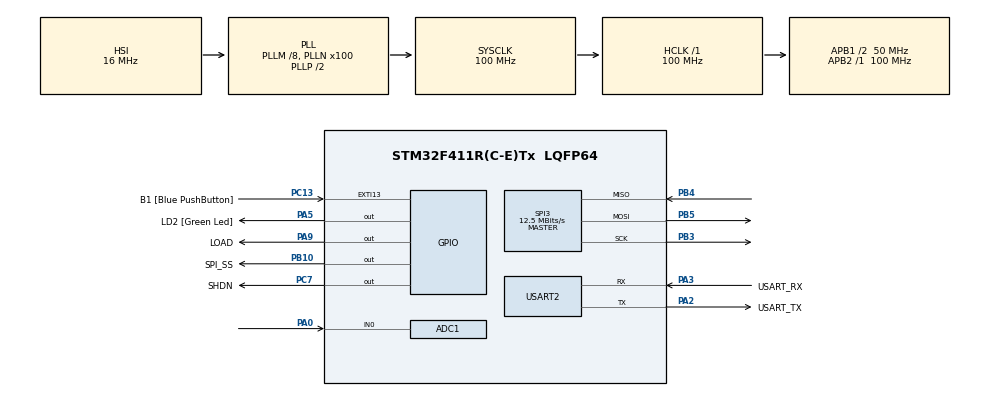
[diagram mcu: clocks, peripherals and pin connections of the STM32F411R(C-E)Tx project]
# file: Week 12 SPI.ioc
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ADC1.Channel-0\#ChannelRegularConversion=ADC_CHANNEL_0
ADC1.ExternalTrigConv=ADC_EXTERNALTRIGCONV_T3_TRGO
ADC1.NbrOfConversionFlag=1
ADC1.Rank-0\#ChannelRegularConversion=1
ADC1.SamplingTime-0\#ChannelRegularConversion=ADC_SAMPLETIME_3CYCLES
ADC1.ScanConvMode=ENABLE
ADC1.master=1
Dma.ADC1.0.Direction=DMA_PERIPH_TO_MEMORY
Dma.ADC1.0.FIFOMode=DMA_FIFOMODE_DISABLE
Dma.ADC1.0.Instance=DMA2_Stream0
Dma.ADC1.0.MemDataAlignment=DMA_MDATAALIGN_HALFWORD
Dma.ADC1.0.MemInc=DMA_MINC_ENABLE
Dma.ADC1.0.Mode=DMA_CIRCULAR
Dma.ADC1.0.PeriphDataAlignment=DMA_PDATAALIGN_HALFWORD
Dma.ADC1.0.PeriphInc=DMA_PINC_DISABLE
Dma.ADC1.0.Priority=DMA_PRIORITY_LOW
Dma.Request0=ADC1
Mcu.Family=STM32F4
Mcu.Name=STM32F411R(C-E)Tx
Mcu.Package=LQFP64
NVIC.ADC_IRQn=true\:0\:0\:false\:false\:true\:true\:true
NVIC.DMA2_Stream0_IRQn=true\:0\:0\:false\:false\:true\:false\:true
NVIC.PriorityGroup=NVIC_PRIORITYGROUP_0
NVIC.SPI3_IRQn=true\:0\:0\:false\:false\:true\:true\:true
NVIC.TIM1_TRG_COM_TIM11_IRQn=true\:0\:0\:false\:false\:true\:true\:true
PA0-WKUP.Signal=ADCx_IN0
PA13.GPIO_Label=TMS
PA13.Mode=Serial_Wire
PA13.Signal=SYS_JTMS-SWDIO
PA14.GPIO_Label=TCK
PA14.Mode=Serial_Wire
PA14.Signal=SYS_JTCK-SWCLK
PA2.GPIO_Label=USART_TX
PA2.Mode=Asynchronous
PA2.Signal=USART2_TX
PA3.GPIO_Label=USART_RX
PA3.Mode=Asynchronous
PA3.Signal=USART2_RX
PA5.GPIO_Label=LD2 [Green Led]
PA5.Signal=GPIO_Output
PA9.GPIO_Label=LOAD
PA9.PinState=GPIO_PIN_SET
PA9.Signal=GPIO_Output
PB10.GPIO_Label=SPI_SS
PB10.PinState=GPIO_PIN_SET
PB10.Signal=GPIO_Output
PB3.Mode=Full_Duplex_Master
PB3.Signal=SPI3_SCK
PB4.Mode=Full_Duplex_Master
PB4.Signal=SPI3_MISO
PB5.Mode=Full_Duplex_Master
PB5.Signal=SPI3_MOSI
PC13-ANTI_TAMP.GPIO_Label=B1 [Blue PushButton]
PC13-ANTI_TAMP.GPIO_ModeDefaultEXTI=GPIO_MODE_IT_FALLING
PC13-ANTI_TAMP.Signal=GPXTI13
PC14-OSC32_IN.Mode=LSE-External-Oscillator
PC14-OSC32_IN.Signal=RCC_OSC32_IN
PC15-OSC32_OUT.Mode=LSE-External-Oscillator
PC15-OSC32_OUT.Signal=RCC_OSC32_OUT
PC7.GPIO_Label=SHDN
PC7.PinState=GPIO_PIN_SET
PC7.Signal=GPIO_Output
PH0\ -\ OSC_IN.Mode=HSE-External-Clock-Source
PH0\ -\ OSC_IN.Signal=RCC_OSC_IN
PH1\ -\ OSC_OUT.Mode=HSE-External-Clock-Source
PH1\ -\ OSC_OUT.Signal=RCC_OSC_OUT
ProjectManager.HeapSize=0x200
ProjectManager.StackSize=0x400
ProjectManager.TargetToolchain=STM32CubeIDE
RCC.48MHZClocksFreq_Value=50000000
RCC.AHBFreq_Value=100000000
RCC.APB1CLKDivider=RCC_HCLK_DIV2
RCC.APB1Freq_Value=50000000
RCC.APB1TimFreq_Value=100000000
RCC.APB2Freq_Value=100000000
RCC.APB2TimFreq_Value=100000000
RCC.CortexFreq_Value=100000000
RCC.FLatency-AdvancedSettings=FLASH_LATENCY_3
RCC.HCLKFreq_Value=100000000
RCC.HSE_VALUE=8000000
RCC.HSI_VALUE=16000000
RCC.PLLM=8
RCC.PLLN=100
RCC.SYSCLKFreq_VALUE=100000000
RCC.SYSCLKSource=RCC_SYSCLKSOURCE_PLLCLK
RCC.VCOOutputFreq_Value=200000000
SH.ADCx_IN0.0=ADC1_IN0,IN0
SPI3.BaudRatePrescaler=SPI_BAUDRATEPRESCALER_4
SPI3.CalculateBaudRate=12.5 MBits/s
SPI3.DataSize=SPI_DATASIZE_16BIT
SPI3.Direction=SPI_DIRECTION_2LINES
SPI3.Mode=SPI_MODE_MASTER
SPI3.VirtualType=VM_MASTER
TIM11.Prescaler=99
TIM3.Period=100
TIM3.Prescaler=99
TIM3.TIM_MasterOutputTrigger=TIM_TRGO_UPDATE
USART2.VirtualMode=VM_ASYNC
VP_TIM11_VS_ClockSourceINT.Mode=Enable_Timer
VP_TIM3_VS_ClockSourceINT.Mode=Internal
board=NUCLEO-F411RE

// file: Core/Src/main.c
/* USER CODE BEGIN Header */
/**
 ******************************************************************************
 * @file           : main.c
 * @brief          : Main program body
 ******************************************************************************
 * @attention
 *
 * <h2><center>&copy; Copyright (c) 2021 STMicroelectronics.
 * All rights reserved.</center></h2>
 *
 * This software component is licensed by ST under BSD 3-Clause license,
 * the "License"; You may not use this file except in compliance with the
 * License. You may obtain a copy of the License at:
 *                        opensource.org/licenses/BSD-3-Clause
 *
 ******************************************************************************
 */
/* USER CODE END Header */
#include "main.h"

ADC_HandleTypeDef hadc1;
DMA_HandleTypeDef hdma_adc1;

SPI_HandleTypeDef hspi3;

TIM_HandleTypeDef htim3;
TIM_HandleTypeDef htim11;

UART_HandleTypeDef huart2;

/* USER CODE BEGIN PV */
uint16_t ADCin = 0;
uint64_t _micro = 0;

//12bits of DAC (data)
uint16_t dataOut = 0;

//upper 4 bit of DAC
uint8_t DACConfig = 0b0011;
// 0 >> write A 				1 >> write B
// 0 >> Vref unbuffered			1 >> Vref buffered
// 0 >> Vout = 2*Vref*D/4096	1 >> Vout = 1*Vref*D/4096
// 0 >> No shutdown				1 >> Shutdown
/* USER CODE END PV */

void SystemClock_Config(void);
static void MX_GPIO_Init(void);
static void MX_DMA_Init(void);
static void MX_USART2_UART_Init(void);
static void MX_ADC1_Init(void);
static void MX_SPI3_Init(void);
static void MX_TIM3_Init(void);
static void MX_TIM11_Init(void);
/* USER CODE BEGIN PFP */

void MCP4922SetOutput(uint8_t Config, uint16_t DACOutput);
uint64_t micros();

/* USER CODE END PFP */

int main(void)
{

  /* MCU Configuration--------------------------------------------------------*/

  /* Reset of all peripherals, Initializes the Flash interface and the Systick. */
  HAL_Init();

  /* Configure the system clock */
  SystemClock_Config();

  /* Initialize all configured peripherals */
  MX_GPIO_Init();
  MX_DMA_Init();
  MX_USART2_UART_Init();
  MX_ADC1_Init();
  MX_SPI3_Init();
  MX_TIM3_Init();
  MX_TIM11_Init();
  /* USER CODE BEGIN 2 */
	HAL_TIM_Base_Start(&htim3);
	HAL_TIM_Base_Start_IT(&htim11);
	HAL_ADC_Start_DMA(&hadc1, (uint32_t*) &ADCin, 1);

	HAL_GPIO_WritePin(LOAD_GPIO_Port, LOAD_Pin, GPIO_PIN_RESET);
  /* USER CODE END 2 */

  /* Infinite loop */
  /* USER CODE BEGIN WHILE */
	while (1)
	{
		static uint64_t timestamp = 0;
		if (micros() - timestamp > 100)	//100 microsec >> 10 kHz
		{
			timestamp = micros();
			//sawtooth >> increase dataout until 4096 then % >> sawtooth graph
			dataOut++;
			dataOut %= 4096;	// data 12 bits >> 2^12 = 4096
			if (hspi3.State == HAL_SPI_STATE_READY && HAL_GPIO_ReadPin(SPI_SS_GPIO_Port, SPI_SS_Pin) == GPIO_PIN_SET)
			{
				MCP4922SetOutput(DACConfig, dataOut);
			}
		}
    /* USER CODE END WHILE */

	}
}

void SystemClock_Config(void)
{
  RCC_OscInitTypeDef RCC_OscInitStruct = {0};
  RCC_ClkInitTypeDef RCC_ClkInitStruct = {0};

  /** Configure the main internal regulator output voltage
  */
  __HAL_RCC_PWR_CLK_ENABLE();
  __HAL_PWR_VOLTAGESCALING_CONFIG(PWR_REGULATOR_VOLTAGE_SCALE1);
  /** Initializes the RCC Oscillators according to the specified parameters
  * in the RCC_OscInitTypeDef structure.
  */
  RCC_OscInitStruct.OscillatorType = RCC_OSCILLATORTYPE_HSI;
  RCC_OscInitStruct.HSIState = RCC_HSI_ON;
  RCC_OscInitStruct.HSICalibrationValue = RCC_HSICALIBRATION_DEFAULT;
  RCC_OscInitStruct.PLL.PLLState = RCC_PLL_ON;
  RCC_OscInitStruct.PLL.PLLSource = RCC_PLLSOURCE_HSI;
  RCC_OscInitStruct.PLL.PLLM = 8;
  RCC_OscInitStruct.PLL.PLLN = 100;
  RCC_OscInitStruct.PLL.PLLP = RCC_PLLP_DIV2;
  RCC_OscInitStruct.PLL.PLLQ = 4;
  if (HAL_RCC_OscConfig(&RCC_OscInitStruct) != HAL_OK)
  {
    Error_Handler();
  }
  /** Initializes the CPU, AHB and APB buses clocks
  */
  RCC_ClkInitStruct.ClockType = RCC_CLOCKTYPE_HCLK|RCC_CLOCKTYPE_SYSCLK
                              |RCC_CLOCKTYPE_PCLK1|RCC_CLOCKTYPE_PCLK2;
  RCC_ClkInitStruct.SYSCLKSource = RCC_SYSCLKSOURCE_PLLCLK;
  RCC_ClkInitStruct.AHBCLKDivider = RCC_SYSCLK_DIV1;
  RCC_ClkInitStruct.APB1CLKDivider = RCC_HCLK_DIV2;
  RCC_ClkInitStruct.APB2CLKDivider = RCC_HCLK_DIV1;

  if (HAL_RCC_ClockConfig(&RCC_ClkInitStruct, FLASH_LATENCY_3) != HAL_OK)
  {
    Error_Handler();
  }
}

static void MX_ADC1_Init(void)
{

  ADC_ChannelConfTypeDef sConfig = {0};

  /** Configure the global features of the ADC (Clock, Resolution, Data Alignment and number of conversion)
  */
  hadc1.Instance = ADC1;
  hadc1.Init.ClockPrescaler = ADC_CLOCK_SYNC_PCLK_DIV4;
  hadc1.Init.Resolution = ADC_RESOLUTION_12B;
  hadc1.Init.ScanConvMode = ENABLE;
  hadc1.Init.ContinuousConvMode = DISABLE;
  hadc1.Init.DiscontinuousConvMode = DISABLE;
  hadc1.Init.ExternalTrigConvEdge = ADC_EXTERNALTRIGCONVEDGE_RISING;
  hadc1.Init.ExternalTrigConv = ADC_EXTERNALTRIGCONV_T3_TRGO;
  hadc1.Init.DataAlign = ADC_DATAALIGN_RIGHT;
  hadc1.Init.NbrOfConversion = 1;
  hadc1.Init.DMAContinuousRequests = DISABLE;
  hadc1.Init.EOCSelection = ADC_EOC_SINGLE_CONV;
  if (HAL_ADC_Init(&hadc1) != HAL_OK)
  {
    Error_Handler();
  }
  /** Configure for the selected ADC regular channel its corresponding rank in the sequencer and its sample time.
  */
  sConfig.Channel = ADC_CHANNEL_0;
  sConfig.Rank = 1;
  sConfig.SamplingTime = ADC_SAMPLETIME_3CYCLES;
  if (HAL_ADC_ConfigChannel(&hadc1, &sConfig) != HAL_OK)
  {
    Error_Handler();
  }

}

static void MX_SPI3_Init(void)
{

  /* SPI3 parameter configuration*/
  hspi3.Instance = SPI3;
  hspi3.Init.Mode = SPI_MODE_MASTER;
  hspi3.Init.Direction = SPI_DIRECTION_2LINES;
  hspi3.Init.DataSize = SPI_DATASIZE_16BIT;
  hspi3.Init.CLKPolarity = SPI_POLARITY_LOW;
  hspi3.Init.CLKPhase = SPI_PHASE_1EDGE;
  hspi3.Init.NSS = SPI_NSS_SOFT;
  hspi3.Init.BaudRatePrescaler = SPI_BAUDRATEPRESCALER_4;
  hspi3.Init.FirstBit = SPI_FIRSTBIT_MSB;
  hspi3.Init.TIMode = SPI_TIMODE_DISABLE;
  hspi3.Init.CRCCalculation = SPI_CRCCALCULATION_DISABLE;
  hspi3.Init.CRCPolynomial = 10;
  if (HAL_SPI_Init(&hspi3) != HAL_OK)
  {
    Error_Handler();
  }

}

static void MX_TIM3_Init(void)
{

  TIM_ClockConfigTypeDef sClockSourceConfig = {0};
  TIM_MasterConfigTypeDef sMasterConfig = {0};

  htim3.Instance = TIM3;
  htim3.Init.Prescaler = 99;
  htim3.Init.CounterMode = TIM_COUNTERMODE_UP;
  htim3.Init.Period = 100;
  htim3.Init.ClockDivision = TIM_CLOCKDIVISION_DIV1;
  htim3.Init.AutoReloadPreload = TIM_AUTORELOAD_PRELOAD_DISABLE;
  if (HAL_TIM_Base_Init(&htim3) != HAL_OK)
  {
    Error_Handler();
  }
  sClockSourceConfig.ClockSource = TIM_CLOCKSOURCE_INTERNAL;
  if (HAL_TIM_ConfigClockSource(&htim3, &sClockSourceConfig) != HAL_OK)
  {
    Error_Handler();
  }
  sMasterConfig.MasterOutputTrigger = TIM_TRGO_UPDATE;
  sMasterConfig.MasterSlaveMode = TIM_MASTERSLAVEMODE_DISABLE;
  if (HAL_TIMEx_MasterConfigSynchronization(&htim3, &sMasterConfig) != HAL_OK)
  {
    Error_Handler();
  }

}

static void MX_TIM11_Init(void)
{

  htim11.Instance = TIM11;
  htim11.Init.Prescaler = 99;
  htim11.Init.CounterMode = TIM_COUNTERMODE_UP;
  htim11.Init.Period = 65535;
  htim11.Init.ClockDivision = TIM_CLOCKDIVISION_DIV1;
  htim11.Init.AutoReloadPreload = TIM_AUTORELOAD_PRELOAD_DISABLE;
  if (HAL_TIM_Base_Init(&htim11) != HAL_OK)
  {
    Error_Handler();
  }

}

static void MX_USART2_UART_Init(void)
{

  huart2.Instance = USART2;
  huart2.Init.BaudRate = 115200;
  huart2.Init.WordLength = UART_WORDLENGTH_8B;
  huart2.Init.StopBits = UART_STOPBITS_1;
  huart2.Init.Parity = UART_PARITY_NONE;
  huart2.Init.Mode = UART_MODE_TX_RX;
  huart2.Init.HwFlowCtl = UART_HWCONTROL_NONE;
  huart2.Init.OverSampling = UART_OVERSAMPLING_16;
  if (HAL_UART_Init(&huart2) != HAL_OK)
  {
    Error_Handler();
  }

}

static void MX_DMA_Init(void)
{

  /* DMA controller clock enable */
  __HAL_RCC_DMA2_CLK_ENABLE();

  /* DMA interrupt init */
  /* DMA2_Stream0_IRQn interrupt configuration */
  HAL_NVIC_SetPriority(DMA2_Stream0_IRQn, 0, 0);
  HAL_NVIC_EnableIRQ(DMA2_Stream0_IRQn);

}

static void MX_GPIO_Init(void)
{
  GPIO_InitTypeDef GPIO_InitStruct = {0};

  /* GPIO Ports Clock Enable */
  __HAL_RCC_GPIOC_CLK_ENABLE();
  __HAL_RCC_GPIOH_CLK_ENABLE();
  __HAL_RCC_GPIOA_CLK_ENABLE();
  __HAL_RCC_GPIOB_CLK_ENABLE();

  /*Configure GPIO pin Output Level */
  HAL_GPIO_WritePin(LD2_GPIO_Port, LD2_Pin, GPIO_PIN_RESET);

  /*Configure GPIO pin Output Level */
  HAL_GPIO_WritePin(SPI_SS_GPIO_Port, SPI_SS_Pin, GPIO_PIN_SET);

  /*Configure GPIO pin Output Level */
  HAL_GPIO_WritePin(SHDN_GPIO_Port, SHDN_Pin, GPIO_PIN_SET);

  /*Configure GPIO pin Output Level */
  HAL_GPIO_WritePin(LOAD_GPIO_Port, LOAD_Pin, GPIO_PIN_SET);

  /*Configure GPIO pin : B1_Pin */
  GPIO_InitStruct.Pin = B1_Pin;
  GPIO_InitStruct.Mode = GPIO_MODE_IT_FALLING;
  GPIO_InitStruct.Pull = GPIO_NOPULL;
  HAL_GPIO_Init(B1_GPIO_Port, &GPIO_InitStruct);

  /*Configure GPIO pins : LD2_Pin LOAD_Pin */
  GPIO_InitStruct.Pin = LD2_Pin|LOAD_Pin;
  GPIO_InitStruct.Mode = GPIO_MODE_OUTPUT_PP;
  GPIO_InitStruct.Pull = GPIO_NOPULL;
  GPIO_InitStruct.Speed = GPIO_SPEED_FREQ_LOW;
  HAL_GPIO_Init(GPIOA, &GPIO_InitStruct);

  /*Configure GPIO pin : SPI_SS_Pin */
  GPIO_InitStruct.Pin = SPI_SS_Pin;
  GPIO_InitStruct.Mode = GPIO_MODE_OUTPUT_PP;
  GPIO_InitStruct.Pull = GPIO_NOPULL;
  GPIO_InitStruct.Speed = GPIO_SPEED_FREQ_LOW;
  HAL_GPIO_Init(SPI_SS_GPIO_Port, &GPIO_InitStruct);

  /*Configure GPIO pin : SHDN_Pin */
  GPIO_InitStruct.Pin = SHDN_Pin;
  GPIO_InitStruct.Mode = GPIO_MODE_OUTPUT_PP;
  GPIO_InitStruct.Pull = GPIO_NOPULL;
  GPIO_InitStruct.Speed = GPIO_SPEED_FREQ_LOW;
  HAL_GPIO_Init(SHDN_GPIO_Port, &GPIO_InitStruct);

}

/* USER CODE BEGIN 4 */
void MCP4922SetOutput(uint8_t Config, uint16_t DACOutput)
{
	uint32_t OutputPacket = (DACOutput & 0x0fff) | ((Config & 0xf) << 12);
	//outputpacket >> config 4 bits + DACOutput (data) 12 bits

	HAL_GPIO_WritePin(SPI_SS_GPIO_Port, SPI_SS_Pin, GPIO_PIN_RESET);
	HAL_SPI_Transmit_IT(&hspi3, &OutputPacket, 1);	//size 1 >> 1 outputpacket => 16 bits
}

void HAL_SPI_TxCpltCallback(SPI_HandleTypeDef *hspi)
{
	if (hspi == &hspi3)
	{
		//transmit complete >> slave select turn to HIGH to tell that it's complete (every rounds)
		HAL_GPIO_WritePin(SPI_SS_GPIO_Port, SPI_SS_Pin, GPIO_PIN_SET);
	}
}

void HAL_TIM_PeriodElapsedCallback(TIM_HandleTypeDef *htim)
{
	if (htim == &htim11)
	{
		_micro += 65535;
	}
}

inline uint64_t micros()
{
	return htim11.Instance->CNT + _micro;
}
/* USER CODE END 4 */

void Error_Handler(void)
{
	__disable_irq();
	while (1)
	{
	}
}

/************************ (C) COPYRIGHT STMicroelectronics *****END OF FILE****/
